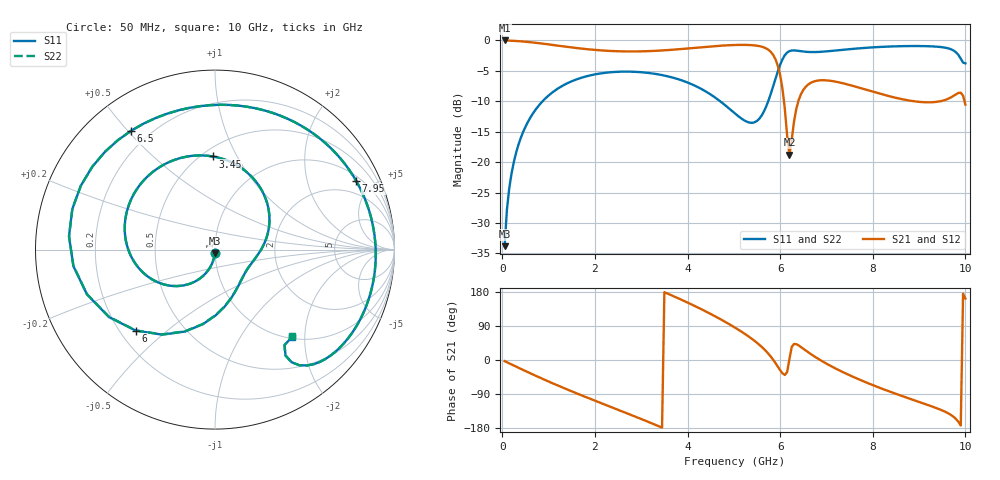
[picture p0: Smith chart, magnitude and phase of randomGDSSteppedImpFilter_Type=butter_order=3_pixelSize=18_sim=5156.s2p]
! freq	dB(S11)	phase(S11)	dB(S12)	phase(S12)
!  dB(S21)	phase(S21)	dB(S22)	phase(S22)
!S-par simulation data
#  GHz  S  DB  R 50
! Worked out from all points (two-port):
!   200 points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, 50 MHz to 10 GHz, reference 50 ohm
!   highest |S21| = 0.00 dB at 50 MHz (marker M1); lowest = -18.8 dB at 6.2 GHz (marker M2)
!   |S21| within 3 dB of the highest: start of sweep to 5.893 GHz
!   lowest |S11| = -33.8 dB at 50 MHz (marker M3), VSWR 1.04, Z = 49.9 - j2.03 ohm
!   |S11| at or under -10 dB: start of sweep to 869.9 MHz; 4.705 GHz to 5.742 GHz (1.036 GHz wide, 19.8 % of centre)
!   |S22| runs from -33.8 to -0.9 dB; largest |S21 - S12| = 0
!   S11 on the Smith chart (normalised r, x): 50 MHz: 1.00, -0.04; 3.45 GHz: 0.56, +0.80; 6 GHz: 0.26, -0.40; 6.5 GHz: 0.13, +0.51; 7.95 GHz: 1.22, +3.98; 10 GHz: 1.04, -1.73
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0.05  -33.81 -93.1  -0.00 -3.0  -0.00 -3.0  -33.81 -93.1
0.2  -21.83 -102.1  -0.05 -11.8  -0.05 -11.8  -21.83 -102.1
0.5  -14.19 -119.7  -0.21 -29.1  -0.21 -29.1  -14.19 -119.7
1.1  -8.44 -152.7  -0.75 -62.1  -0.75 -62.1  -8.44 -152.7
1.75  -6.04 174.3  -1.38 -95.2  -1.38 -95.2  -6.04 174.2
2.65  -5.12 130.9  -1.81 -138.6  -1.81 -138.6  -5.12 130.9
3.4  -5.62 94.0  -1.67 -175.9  -1.67 -175.9  -5.62 94.0
3.45  -5.70 91.5  -1.65 -178.5  -1.65 -178.5  -5.70 91.4
4.25  -7.78 47.7  -1.15 136.9  -1.15 136.9  -7.78 47.7
5.05  -12.16 -4.0  -0.74 83.6  -0.74 83.6  -12.16 -4.1
5.4  -13.53 -34.0  -0.79 54.9  -0.79 54.9  -13.54 -34.2
5.7  -10.83 -72.2  -1.31 22.8  -1.31 22.8  -10.83 -72.5
5.85  -7.51 -99.2  -2.39 0.5  -2.39 0.5  -7.51 -99.5
6  -4.00 -134.3  -5.71 -26.9  -5.71 -26.9  -4.00 -134.6
6.2  -1.76 174.8  -18.78 2.2  -18.78 2.2  -1.76 174.6
6.5  -1.82 125.3  -8.13 29.7  -8.13 29.7  -1.82 125.1
6.7  -1.91 104.6  -6.83 12.5  -6.83 12.5  -1.91 104.5
7.25  -1.62 64.3  -6.85 -25.7  -6.85 -25.7  -1.62 64.2
7.95  -1.16 26.0  -8.31 -63.8  -8.31 -63.8  -1.16 25.9
8.35  -1.00 7.3  -9.15 -82.6  -9.15 -82.6  -1.00 7.3
9.6  -1.25 -44.7  -9.67 -138.8  -9.67 -138.8  -1.25 -44.7
10  -3.77 -48.4  -10.54 162.2  -10.54 162.2  -3.77 -48.3
